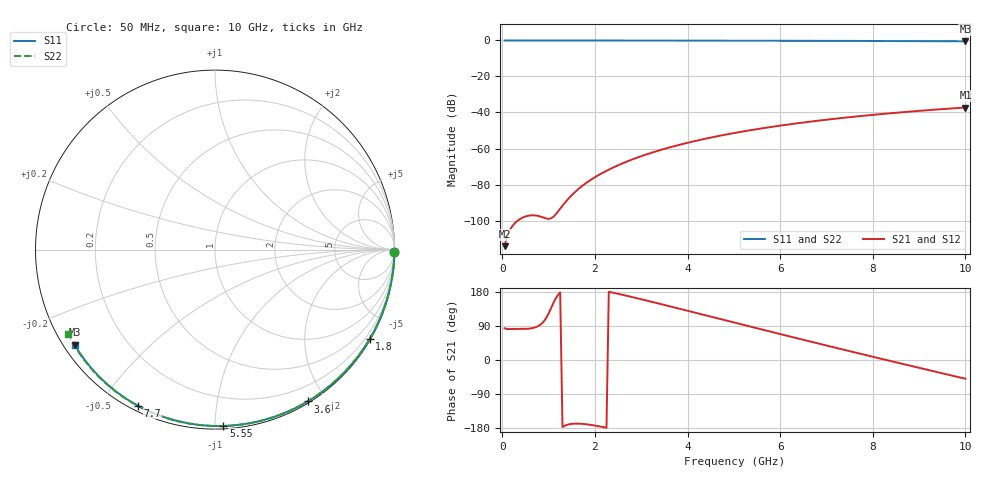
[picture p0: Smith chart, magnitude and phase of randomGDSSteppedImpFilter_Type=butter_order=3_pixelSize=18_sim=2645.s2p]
! freq	dB(S11)	phase(S11)	dB(S12)	phase(S12)
!  dB(S21)	phase(S21)	dB(S22)	phase(S22)
!S-par simulation data
#  GHz  S  DB  R 50
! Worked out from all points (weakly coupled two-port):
!   200 points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, 50 MHz to 10 GHz, reference 50 ohm
!   highest |S21| = -37.23 dB at 10 GHz (marker M1); lowest = -114.2 dB at 50 MHz (marker M2)
!   lowest |S11| = -0.5 dB at 10 GHz (marker M3), VSWR 35.31, Z = 1.55 - j15.3 ohm
!   |S11| at or under -10 dB: nowhere
!   |S22| runs from -0.5 to 0.0 dB; largest |S21 - S12| = 0
!   S11 on the Smith chart (normalised r, x): 50 MHz: open; 1.8 GHz: 0.03, -3.72; 3.6 GHz: 0.02, -1.78; 5.55 GHz: 0.02, -1.05; 7.7 GHz: 0.02, -0.62; 10 GHz: 0.03, -0.31
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0.05  -0.00 -0.9  -114.22 83.6  -114.22 83.6  -0.00 -0.9
0.45  -0.01 -7.6  -98.23 81.8  -98.23 81.8  -0.01 -7.8
0.9  -0.02 -15.2  -98.44 102.3  -98.44 102.3  -0.02 -15.6
1.3  -0.03 -21.8  -91.73 -176.8  -91.73 -176.8  -0.03 -22.4
1.75  -0.04 -29.2  -80.31 -168.8  -80.31 -168.8  -0.04 -30.0
1.8  -0.04 -30.1  -79.36 -169.4  -79.36 -169.4  -0.04 -30.8
1.95  -0.04 -32.5  -76.75 -172.0  -76.75 -172.0  -0.04 -33.3
2.1  -0.04 -34.9  -74.45 -175.1  -74.45 -175.1  -0.05 -35.8
2.3  -0.05 -38.2  -71.72 180.0  -71.72 180.0  -0.05 -39.1
2.5  -0.05 -41.4  -69.31 174.7  -69.31 174.7  -0.05 -42.4
2.9  -0.06 -47.7  -65.18 163.3  -65.18 163.3  -0.06 -48.9
3.4  -0.07 -55.5  -60.95 148.3  -60.95 148.3  -0.08 -56.9
3.6  -0.08 -58.6  -59.47 142.2  -59.47 142.2  -0.08 -60.1
4.3  -0.10 -69.2  -55.03 120.7  -55.03 120.7  -0.10 -70.9
5.05  -0.12 -80.1  -51.20 97.6  -51.20 97.6  -0.13 -82.1
5.55  -0.14 -87.3  -49.03 82.2  -49.03 82.2  -0.15 -89.4
6.1  -0.17 -94.9  -46.93 65.4  -46.93 65.4  -0.17 -97.2
6.7  -0.20 -103.1  -44.91 47.2  -44.91 47.2  -0.21 -105.6
7.7  -0.27 -116.3  -42.06 17.4  -42.06 17.4  -0.27 -119.3
8.35  -0.32 -124.8  -40.49 -1.7  -40.49 -1.7  -0.33 -128.0
9.2  -0.40 -135.7  -38.69 -26.4  -38.69 -26.4  -0.41 -139.3
10  -0.49 -145.9  -37.23 -49.4  -37.23 -49.4  -0.50 -150.0
